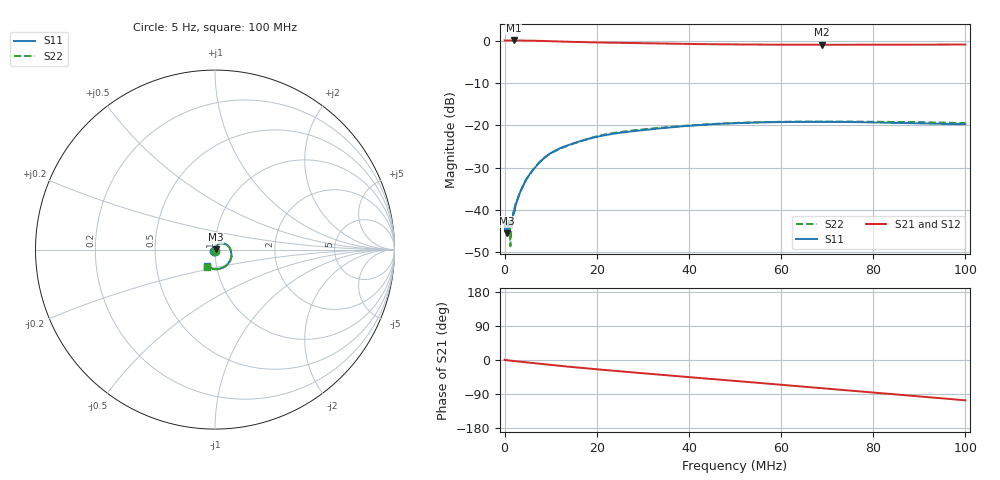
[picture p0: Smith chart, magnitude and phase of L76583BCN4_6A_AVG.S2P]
!Agilent Technologies,E5061B,MY49102235,A.02.00
!Date: Tue Jul 11 17:03:48 2023
!Data & Calibration Information:
!Freq	S11:SOLT2(ON)	S21:SOLT2(ON)	S12:SOLT2(ON)	S22:SOLT2(ON)
# Hz S RI R 50
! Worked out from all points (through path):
!   1600 points, 5 Hz to 100 MHz, reference 50 ohm
!   highest |S21| = 0.02 dB at 1.939 MHz (marker M1); lowest = -1.0 dB at 68.92 MHz (marker M2)
!   group delay of S21, straight-line fit = 2.87 ns
!   lowest |S11| = -45.6 dB at 500.3 kHz (marker M3), VSWR 1.01, Z = 50.5 + j0.235 ohm
!   |S11| at or under -10 dB: start of sweep to end of sweep
!   |S22| runs from -48.6 to -19.1 dB; largest |S21 - S12| = 0.0027
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5  -0.00515 -0.00562  1.002 0.008  1.001 0.0102  -0.00141 -0.00755
500317.7  0.00471 0.00233  1.001 -0.0106  1.002 -0.0104  0.00491 0.000745
938091.3  0.00458 0.00476  1.001 -0.0203  1.001 -0.0197  0.00613 0.00418
1188248  0.00488 0.00517  1.001 -0.0267  1.001 -0.0259  0.00307 0.00423
1563482  0.00486 0.00569  1.001 -0.0351  1 -0.0341  0.00365 0.00513
1938717  0.00389 0.00835  1.001 -0.0445  1.001 -0.0438  0.00418 0.00861
2251412  0.00421 0.0091  0.9996 -0.0526  0.9993 -0.0513  0.00468 0.00986
2626647  0.00547 0.0112  0.9984 -0.0609  0.9974 -0.0606  0.00482 0.0115
3189498  0.00638 0.014  0.9973 -0.0738  0.997 -0.0736  0.00527 0.0141
4190124  0.00788 0.0186  0.9944 -0.0976  0.994 -0.0971  0.00724 0.0189
5503444  0.0117 0.0238  0.9885 -0.1279  0.9884 -0.1274  0.0111 0.0242
7504695  0.0186 0.0307  0.9763 -0.1726  0.9761 -0.1725  0.0184 0.0314
9068172  0.0259 0.0344  0.9641 -0.2059  0.9638 -0.2054  0.0255 0.0346
1.100688e7  0.0356 0.0355  0.9471 -0.2433  0.9468 -0.2428  0.0348 0.0355
1.669794e7  0.0578 0.0304  0.8958 -0.3409  0.8955 -0.3405  0.0575 0.0304
2.332708e7  0.0772 0.0156  0.8316 -0.4413  0.8313 -0.441  0.0789 0.0146
3.333334e7  0.09 -0.0155  0.7225 -0.5723  0.7223 -0.5719  0.0913 -0.0165
5.003127e7  0.0792 -0.0701  0.5129 -0.7394  0.5128 -0.7391  0.0794 -0.0709
6.672921e7  0.0362 -0.1033  0.2762 -0.8486  0.2765 -0.8484  0.0373 -0.1039
6.891808e7  0.0302 -0.1053  0.2432 -0.8581  0.2433 -0.8581  0.0309 -0.106
8.33646e7  -0.00815 -0.1066  0.0161 -0.8933  0.0162 -0.8932  -0.00763 -0.1091
1e8  -0.0439 -0.0928  -0.254 -0.8603  -0.2538 -0.8602  -0.0441 -0.0962
